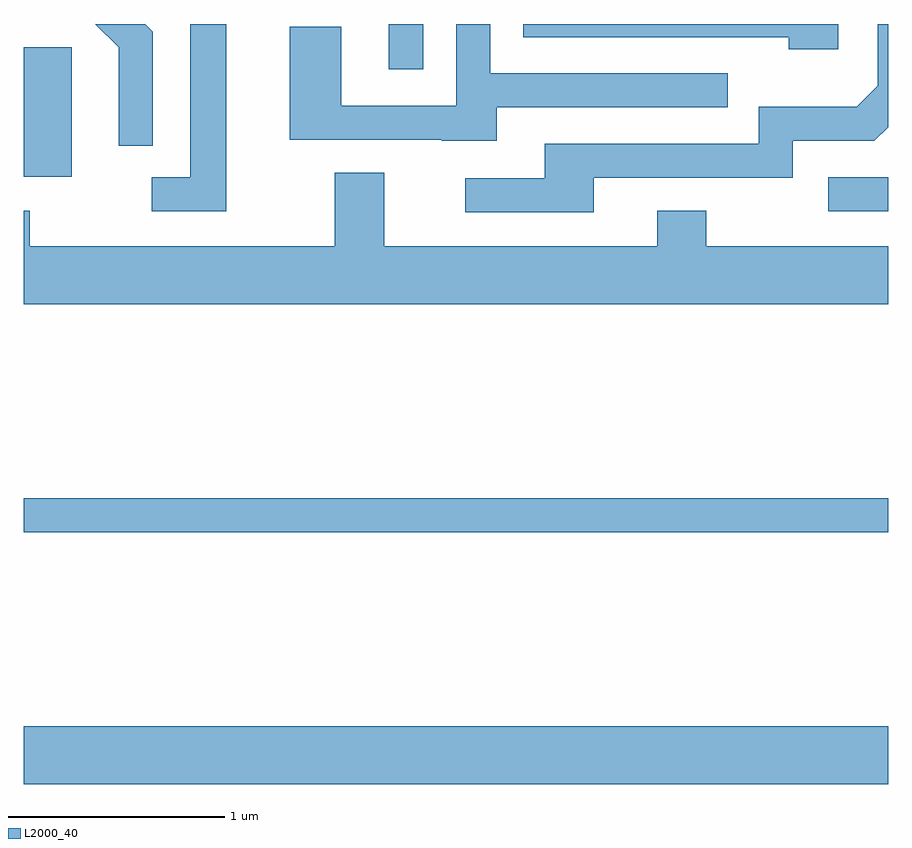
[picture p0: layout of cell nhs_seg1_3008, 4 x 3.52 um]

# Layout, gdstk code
import gdstk
lib = gdstk.Library(unit=1e-6, precision=1e-09)
def R(c, l, rs):  # rectangles x0, y0, x1, y1
    for r in rs: c.add(gdstk.rectangle(r[:2], r[2:], *l))
def P(c, l, *ps):  # polygons
    for p in ps: c.add(gdstk.Polygon(p, *l))
L2000_40 = (2000, 40)

nhs_seg1_3008 = lib.new_cell('nhs_seg1_3008')
R(nhs_seg1_3008, L2000_40, [(275.611,946.196,279.611,946.464), (275.611,947.361,279.611,947.519), (279.333,948.846,279.611,949.004), (275.611,949.006,275.834,949.604), (277.301,949.503,277.459,949.712)])
P(nhs_seg1_3008, L2000_40, [(278.249,949.001),(279.169,949.001),(279.169,949.171),(279.547,949.171),(279.611,949.235),(279.611,949.712),(279.561,949.712),(279.561,949.427),(279.464,949.329),(279.011,949.329),(279.011,949.159),(278.021,949.159),(278.021,948.999),(277.653,948.999),(277.653,948.841),(278.249,948.841)],
  [(277.799,949.326),(278.868,949.326),(278.868,949.484),(277.769,949.484),(277.769,949.712),(277.611,949.712),(277.611,949.334),(277.079,949.334),(277.079,949.699),(276.841,949.699),(276.841,949.176),(277.545,949.176),(277.545,949.171),(277.799,949.171)],
  [(276.209,949.677),(276.174,949.712),(275.943,949.712),(276.051,949.604),(276.051,949.148),(276.209,949.148)],
  [(279.379,949.712),(277.921,949.712),(277.921,949.651),(279.151,949.651),(279.151,949.596),(279.379,949.596)],
  [(276.549,949.712),(276.381,949.712),(276.381,949.004),(276.203,949.004),(276.203,948.846),(276.549,948.846)],
  [(279.611,948.684),(278.769,948.684),(278.769,948.849),(278.541,948.849),(278.541,948.684),(277.279,948.684),(277.279,949.024),(277.051,949.024),(277.051,948.684),(275.639,948.684),(275.639,948.849),(275.611,948.849),(275.611,948.416),(279.611,948.416)])

lib.write_gds('nhs_seg1_3008.gds')
